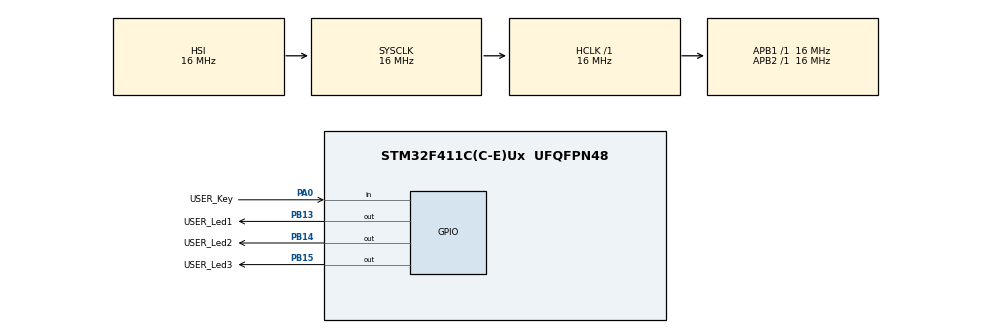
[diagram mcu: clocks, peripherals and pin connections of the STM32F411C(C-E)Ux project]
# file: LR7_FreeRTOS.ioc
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FREERTOS.Tasks01=defaultTask,0,128,StartDefaultTask,Default,NULL,Dynamic,NULL,NULL
Mcu.Family=STM32F4
Mcu.Name=STM32F411C(C-E)Ux
Mcu.Package=UFQFPN48
NVIC.PriorityGroup=NVIC_PRIORITYGROUP_4
NVIC.TIM1_UP_TIM10_IRQn=true\:15\:0\:false\:false\:true\:false\:false\:true\:true
NVIC.TimeBase=TIM1_UP_TIM10_IRQn
NVIC.TimeBaseIP=TIM1
PA0-WKUP.GPIO_Label=USER_Key
PA0-WKUP.GPIO_PuPd=GPIO_PULLUP
PA0-WKUP.Signal=GPIO_Input
PB13.GPIO_Label=USER_Led1
PB13.Signal=GPIO_Output
PB14.GPIO_Label=USER_Led2
PB14.Signal=GPIO_Output
PB15.GPIO_Label=USER_Led3
PB15.Signal=GPIO_Output
ProjectManager.HeapSize=0x200
ProjectManager.StackSize=0x400
ProjectManager.TargetToolchain=STM32CubeIDE
RCC.AHBFreq_Value=16000000
RCC.APB1Freq_Value=16000000
RCC.APB2Freq_Value=16000000
RCC.CortexFreq_Value=16000000
RCC.HSE_VALUE=25000000
RCC.HSI_VALUE=16000000
RCC.LSE_VALUE=32768
RCC.SYSCLKFreq_VALUE=16000000
RCC.VCOOutputFreq_Value=192000000
VP_FREERTOS_VS_CMSIS_V1.Mode=CMSIS_V1
VP_SYS_VS_tim1.Mode=TIM1
board=custom

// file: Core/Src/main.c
/* USER CODE BEGIN Header */
/*
Лабораторна робота 7. Налагодження середовища розробки для програмування
32-розрядних мікроконтролерів з використанням операційної системи реального часу. На
прикладі FreeRTOS.

Підключення:    1.1 GND - [-LED+] - [резистор 325R] - PB15
   	   	   	   	1.2 GND - [-LED+] - [резистор 325R] - PB14
   	   	   	   	1.3 GND - [-LED+] - [резистор 325R] - PB13

                2.1 GND - [-Key+] - PA0 (Pull_up)

*/
/* USER CODE END Header */
#include "main.h"
#include "cmsis_os.h"

osThreadId defaultTaskHandle;
/* USER CODE BEGIN PV */

uint32_t pd13_delay = 50; // Початкова затримка для 10 Гц

/* USER CODE END PV */

void SystemClock_Config(void);
static void MX_GPIO_Init(void);
void StartDefaultTask(void const * argument);

/* USER CODE BEGIN 0 */

// Потік для PD13 (змінювана частота)
void LedTask13(void *argument) {
  for (;;) {
    HAL_GPIO_TogglePin(GPIOB, USER_Led1_Pin);
    vTaskDelay(pd13_delay);
  }
}

// Потік для PD14 (4 Гц)
void LedTask14(void *argument) {
  for (;;) {
    HAL_GPIO_TogglePin(GPIOB, USER_Led2_Pin);
    vTaskDelay(150);
  }
}

// Потік для PD15 (2 Гц)
void LedTask15(void *argument) {
  for (;;) {
    HAL_GPIO_TogglePin(GPIOB, USER_Led3_Pin);
    vTaskDelay(300);
  }
}

// Потік для кнопки
void ButtonTask(void *argument) {
  uint8_t state = 0;
  for (;;) {
    if (HAL_GPIO_ReadPin(GPIOA, USER_Key_Pin) == GPIO_PIN_SET) {
      // Антибрязк
      vTaskDelay(50);
      if (HAL_GPIO_ReadPin(GPIOA, USER_Key_Pin) == GPIO_PIN_SET) {
        if (state == 0) {
          pd13_delay = 200; // Змінюємо на 200 мс
          state = 1;
        } else {
          pd13_delay = 50;  // Повертаємо 50 мс
          state = 0;
        }
        // Чекаємо відпускання кнопки
        while(HAL_GPIO_ReadPin(GPIOA, USER_Key_Pin) == GPIO_PIN_SET) {
          vTaskDelay(10);
        }
      }
    }
    vTaskDelay(20); // Опитування кожні 20 мс
  }
}
/* USER CODE END 0 */

int main(void)
{

  /* MCU Configuration--------------------------------------------------------*/

  /* Reset of all peripherals, Initializes the Flash interface and the Systick. */
  HAL_Init();

  /* Configure the system clock */
  SystemClock_Config();

  /* Initialize all configured peripherals */
  MX_GPIO_Init();

  /* Create the thread(s) */
  /* definition and creation of defaultTask */
  osThreadDef(defaultTask, StartDefaultTask, osPriorityNormal, 0, 128);
  defaultTaskHandle = osThreadCreate(osThread(defaultTask), NULL);

  /* USER CODE BEGIN RTOS_THREADS */

  xTaskCreate(LedTask13, "LED13", 128, NULL, 1, NULL);
  xTaskCreate(LedTask14, "LED14", 128, NULL, 1, NULL);
  xTaskCreate(LedTask15, "LED15", 128, NULL, 1, NULL);
  xTaskCreate(ButtonTask, "BTN", 128, NULL, 2, NULL); // Пріоритет вище, щоб кнопка була чутливою

  /* USER CODE END RTOS_THREADS */

  /* Start scheduler */
  osKernelStart();

  /* We should never get here as control is now taken by the scheduler */

  /* Infinite loop */
  while (1)
  {

  }
}

void SystemClock_Config(void)
{
  RCC_OscInitTypeDef RCC_OscInitStruct = {0};
  RCC_ClkInitTypeDef RCC_ClkInitStruct = {0};

  /** Configure the main internal regulator output voltage
  */
  __HAL_RCC_PWR_CLK_ENABLE();
  __HAL_PWR_VOLTAGESCALING_CONFIG(PWR_REGULATOR_VOLTAGE_SCALE1);

  /** Initializes the RCC Oscillators according to the specified parameters
  * in the RCC_OscInitTypeDef structure.
  */
  RCC_OscInitStruct.OscillatorType = RCC_OSCILLATORTYPE_HSI;
  RCC_OscInitStruct.HSIState = RCC_HSI_ON;
  RCC_OscInitStruct.HSICalibrationValue = RCC_HSICALIBRATION_DEFAULT;
  RCC_OscInitStruct.PLL.PLLState = RCC_PLL_NONE;
  if (HAL_RCC_OscConfig(&RCC_OscInitStruct) != HAL_OK)
  {
    Error_Handler();
  }

  /** Initializes the CPU, AHB and APB buses clocks
  */
  RCC_ClkInitStruct.ClockType = RCC_CLOCKTYPE_HCLK|RCC_CLOCKTYPE_SYSCLK
                              |RCC_CLOCKTYPE_PCLK1|RCC_CLOCKTYPE_PCLK2;
  RCC_ClkInitStruct.SYSCLKSource = RCC_SYSCLKSOURCE_HSI;
  RCC_ClkInitStruct.AHBCLKDivider = RCC_SYSCLK_DIV1;
  RCC_ClkInitStruct.APB1CLKDivider = RCC_HCLK_DIV1;
  RCC_ClkInitStruct.APB2CLKDivider = RCC_HCLK_DIV1;

  if (HAL_RCC_ClockConfig(&RCC_ClkInitStruct, FLASH_LATENCY_0) != HAL_OK)
  {
    Error_Handler();
  }
}

static void MX_GPIO_Init(void)
{
  GPIO_InitTypeDef GPIO_InitStruct = {0};

  /* GPIO Ports Clock Enable */
  __HAL_RCC_GPIOA_CLK_ENABLE();
  __HAL_RCC_GPIOB_CLK_ENABLE();

  /*Configure GPIO pin Output Level */
  HAL_GPIO_WritePin(GPIOB, USER_Led1_Pin|USER_Led2_Pin|USER_Led3_Pin, GPIO_PIN_RESET);

  /*Configure GPIO pin : USER_Key_Pin */
  GPIO_InitStruct.Pin = USER_Key_Pin;
  GPIO_InitStruct.Mode = GPIO_MODE_INPUT;
  GPIO_InitStruct.Pull = GPIO_PULLUP;
  HAL_GPIO_Init(USER_Key_GPIO_Port, &GPIO_InitStruct);

  /*Configure GPIO pins : USER_Led1_Pin USER_Led2_Pin USER_Led3_Pin */
  GPIO_InitStruct.Pin = USER_Led1_Pin|USER_Led2_Pin|USER_Led3_Pin;
  GPIO_InitStruct.Mode = GPIO_MODE_OUTPUT_PP;
  GPIO_InitStruct.Pull = GPIO_NOPULL;
  GPIO_InitStruct.Speed = GPIO_SPEED_FREQ_LOW;
  HAL_GPIO_Init(GPIOB, &GPIO_InitStruct);

}

void StartDefaultTask(void const * argument)
{
  for(;;)
  {
    osDelay(1);
  }
}

void HAL_TIM_PeriodElapsedCallback(TIM_HandleTypeDef *htim)
{
  if (htim->Instance == TIM1)
  {
    HAL_IncTick();
  }
}

void Error_Handler(void)
{
  __disable_irq();
  while (1)
  {
  }
}
